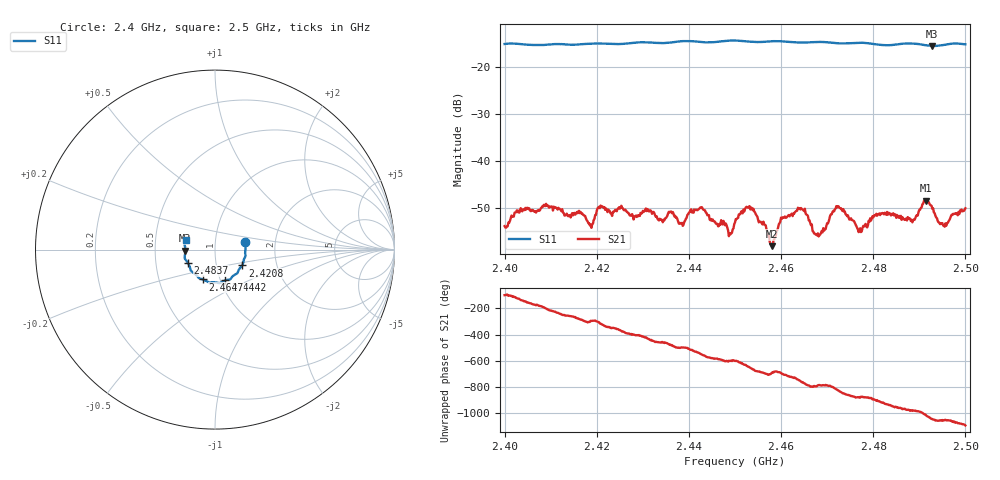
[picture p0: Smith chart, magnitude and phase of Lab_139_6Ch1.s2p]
# Hz S RI R
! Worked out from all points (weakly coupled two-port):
!   601 points, 2.4 GHz to 2.5 GHz, reference 50 ohm
!   highest |S21| = -48.40 dB at 2.4915 GHz (marker M1); lowest = -58.1 dB at 2.458 GHz (marker M2)
!   lowest |S11| = -15.6 dB at 2.4928 GHz (marker M3), VSWR 1.40, Z = 35.8 - j0.396 ohm
!   |S11| at or under -10 dB: start of sweep to end of sweep
!   S12 and S22 are empty: the file has one direction only
!   S11 on the Smith chart (normalised r, x): 2.4 GHz: 1.40, +0.12; 2.4208 GHz: 1.33, -0.24; 2.4442 GHz: 1.05, -0.37; 2.4647 GHz: 0.83, -0.29; 2.4837 GHz: 0.73, -0.11; 2.5 GHz: 0.71, +0.08
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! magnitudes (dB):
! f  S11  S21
! 2.4 GHz  -15.2  -53.8
! 2.4087 GHz  -15.4  -49.3
! 2.4167 GHz  -15.3  -51.1
! 2.4187 GHz  -15.1  -53.5
! 2.4208 GHz  -15.1  -49.5
! 2.4333 GHz  -15.0  -52.5
! 2.4442 GHz  -14.9  -51.5
! 2.45 GHz  -14.5  -53.0
! 2.4535 GHz  -14.7  -49.9
! 2.458 GHz  -14.7  -58.1
! 2.4603 GHz  -14.7  -51.9
! 2.4647 GHz  -14.9  -50.3
! 2.4667 GHz  -14.8  -53.4
! 2.4723 GHz  -15.1  -49.6
! 2.477 GHz  -15.0  -54.7
! 2.4833 GHz  -15.5  -51.0
! 2.4837 GHz  -15.5  -51.2
! 2.4887 GHz  -15.1  -52.5
! 2.4915 GHz  -15.5  -48.4
! 2.4928 GHz  -15.6  -50.2
! 2.4953 GHz  -15.4  -53.6
! 2.5 GHz  -15.3  -50.0
